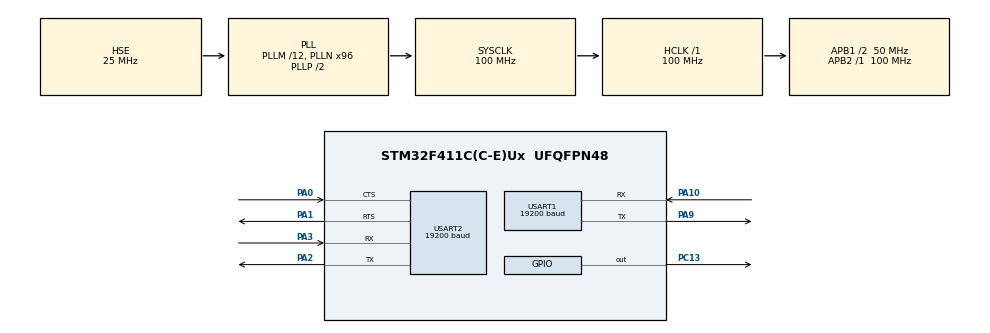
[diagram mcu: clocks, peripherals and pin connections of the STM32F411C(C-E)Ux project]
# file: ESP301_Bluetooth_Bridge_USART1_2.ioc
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Mcu.Family=STM32F4
Mcu.Name=STM32F411C(C-E)Ux
Mcu.Package=UFQFPN48
NVIC.PriorityGroup=NVIC_PRIORITYGROUP_4
NVIC.USART1_IRQn=true\:0\:0\:false\:false\:true\:true\:true\:true
NVIC.USART2_IRQn=true\:0\:0\:false\:false\:true\:true\:true\:true
PA0-WKUP.Mode=CTS_RTS
PA0-WKUP.Signal=USART2_CTS
PA1.GPIO_PuPd=GPIO_PULLUP
PA1.Mode=CTS_RTS
PA1.Signal=USART2_RTS
PA10.Mode=Asynchronous
PA10.Signal=USART1_RX
PA13.Mode=Serial_Wire
PA13.Signal=SYS_JTMS-SWDIO
PA14.Mode=Serial_Wire
PA14.Signal=SYS_JTCK-SWCLK
PA2.GPIO_PuPd=GPIO_PULLUP
PA2.Mode=Asynchronous
PA2.Signal=USART2_TX
PA3.GPIO_PuPd=GPIO_PULLUP
PA3.Mode=Asynchronous
PA3.Signal=USART2_RX
PA9.Mode=Asynchronous
PA9.Signal=USART1_TX
PC13-ANTI_TAMP.GPIO_PuPd=GPIO_NOPULL
PC13-ANTI_TAMP.Signal=GPIO_Output
PH0\ -\ OSC_IN.Mode=HSE-External-Oscillator
PH0\ -\ OSC_IN.Signal=RCC_OSC_IN
PH1\ -\ OSC_OUT.Mode=HSE-External-Oscillator
PH1\ -\ OSC_OUT.Signal=RCC_OSC_OUT
ProjectManager.HeapSize=0x200
ProjectManager.StackSize=0x400
ProjectManager.TargetToolchain=STM32CubeIDE
RCC.48MHZClocksFreq_Value=50000000
RCC.AHBFreq_Value=100000000
RCC.APB1CLKDivider=RCC_HCLK_DIV2
RCC.APB1Freq_Value=50000000
RCC.APB1TimFreq_Value=100000000
RCC.APB2Freq_Value=100000000
RCC.APB2TimFreq_Value=100000000
RCC.CortexFreq_Value=100000000
RCC.HCLKFreq_Value=100000000
RCC.HSE_VALUE=25000000
RCC.HSI_VALUE=16000000
RCC.LSE_VALUE=32768
RCC.PLLM=12
RCC.PLLN=96
RCC.PLLSourceVirtual=RCC_PLLSOURCE_HSE
RCC.SYSCLKFreq_VALUE=100000000
RCC.SYSCLKSource=RCC_SYSCLKSOURCE_PLLCLK
RCC.VCOOutputFreq_Value=200000000
USART1.BaudRate=19200
USART1.VirtualMode=VM_ASYNC
USART2.BaudRate=19200
USART2.VirtualMode=VM_ASYNC
board=custom

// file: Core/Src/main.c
/* USER CODE BEGIN Header */
/**
  ******************************************************************************
  * @file           : main.c
  * @brief          : Main program body
  ******************************************************************************
  * @attention
  *
  * Copyright (c) 2025 STMicroelectronics.
  * All rights reserved.
  *
  * This software is licensed under terms that can be found in the LICENSE file
  * in the root directory of this software component.
  * If no LICENSE file comes with this software, it is provided AS-IS.
  *
  ******************************************************************************
  */
/* USER CODE END Header */

#include "main.h"
#include <string.h>

/* USER CODE BEGIN PD */
#define BUFFER_SIZE 64  // Tamanho suficiente para respostas longas (ex.: VE?)
#define TIMEOUT_MS  100 // Timeout para aguardar o fim da mensagem
/* USER CODE END PD */

UART_HandleTypeDef huart1;
UART_HandleTypeDef huart2;

/* USER CODE BEGIN PV */
uint8_t usart1_rx_buffer[BUFFER_SIZE]; // Buffer para USART1 (Bluetooth)
uint8_t usart2_rx_buffer[BUFFER_SIZE]; // Buffer para USART2 (ESP301)
volatile uint16_t usart1_rx_index = 0; // Índice para acumular dados do Bluetooth
volatile uint16_t usart2_rx_index = 0; // Índice para acumular dados do ESP301
volatile uint8_t usart1_busy = 0;      // Flag para evitar sobreposição
volatile uint8_t usart2_busy = 0;      // Flag para evitar sobreposição
volatile uint32_t last_rx_time = 0;    // Para timeout
/* USER CODE END PV */

void SystemClock_Config(void);
static void MX_GPIO_Init(void);
static void MX_USART1_UART_Init(void);
static void MX_USART2_UART_Init(void);
/* USER CODE BEGIN PFP */
void Process_USART1_Data(void);
void Process_USART2_Data(void);
/* USER CODE END PFP */

int main(void)
{

  /* MCU Configuration--------------------------------------------------------*/

  /* Reset of all peripherals, Initializes the Flash interface and the Systick. */
  HAL_Init();

  /* Configure the system clock */
  SystemClock_Config();

  /* Initialize all configured peripherals */
  MX_GPIO_Init();
  MX_USART1_UART_Init();
  MX_USART2_UART_Init();
  /* USER CODE BEGIN 2 */
  // Configura prioridades das interrupções no NVIC para máxima responsividade
  HAL_NVIC_SetPriority(USART1_IRQn, 0, 0); // Prioridade máxima para USART1
  HAL_NVIC_SetPriority(USART2_IRQn, 0, 1); // Prioridade ligeiramente menor para USART2
  HAL_NVIC_EnableIRQ(USART1_IRQn);
  HAL_NVIC_EnableIRQ(USART2_IRQn);

  // Piscar LED para indicar inicialização
  for (int i = 0; i < 8; i++) {
    HAL_GPIO_TogglePin(GPIOC, GPIO_PIN_13);
    HAL_Delay(100);
  }

  // Inicia recepção com interrupção em ambas as UARTs
  HAL_UART_Receive_IT(&huart1, usart1_rx_buffer, 1); // USART1 (Bluetooth)
  HAL_UART_Receive_IT(&huart2, usart2_rx_buffer, 1); // USART2 (ESP301)
  /* USER CODE END 2 */

  /* Infinite loop */
  /* USER CODE BEGIN WHILE */
  while (1)
  {
    // Processar dados acumulados com timeout
    uint32_t current_time = HAL_GetTick();
    if (!usart1_busy && usart1_rx_index > 0 && (current_time - last_rx_time > TIMEOUT_MS)) {
      Process_USART1_Data();
    }
    if (!usart2_busy && usart2_rx_index > 0 && (current_time - last_rx_time > TIMEOUT_MS)) {
      Process_USART2_Data();
    }
    /* USER CODE END WHILE */

  }
}

void SystemClock_Config(void)
{
  RCC_OscInitTypeDef RCC_OscInitStruct = {0};
  RCC_ClkInitTypeDef RCC_ClkInitStruct = {0};

  /** Configure the main internal regulator output voltage
  */
  __HAL_RCC_PWR_CLK_ENABLE();
  __HAL_PWR_VOLTAGESCALING_CONFIG(PWR_REGULATOR_VOLTAGE_SCALE1);

  /** Initializes the RCC Oscillators according to the specified parameters
  * in the RCC_OscInitTypeDef structure.
  */
  RCC_OscInitStruct.OscillatorType = RCC_OSCILLATORTYPE_HSE;
  RCC_OscInitStruct.HSEState = RCC_HSE_ON;
  RCC_OscInitStruct.PLL.PLLState = RCC_PLL_ON;
  RCC_OscInitStruct.PLL.PLLSource = RCC_PLLSOURCE_HSE;
  RCC_OscInitStruct.PLL.PLLM = 12;
  RCC_OscInitStruct.PLL.PLLN = 96;
  RCC_OscInitStruct.PLL.PLLP = RCC_PLLP_DIV2;
  RCC_OscInitStruct.PLL.PLLQ = 4;
  if (HAL_RCC_OscConfig(&RCC_OscInitStruct) != HAL_OK)
  {
    Error_Handler();
  }

  /** Initializes the CPU, AHB and APB buses clocks
  */
  RCC_ClkInitStruct.ClockType = RCC_CLOCKTYPE_HCLK|RCC_CLOCKTYPE_SYSCLK
                              |RCC_CLOCKTYPE_PCLK1|RCC_CLOCKTYPE_PCLK2;
  RCC_ClkInitStruct.SYSCLKSource = RCC_SYSCLKSOURCE_PLLCLK;
  RCC_ClkInitStruct.AHBCLKDivider = RCC_SYSCLK_DIV1;
  RCC_ClkInitStruct.APB1CLKDivider = RCC_HCLK_DIV2;
  RCC_ClkInitStruct.APB2CLKDivider = RCC_HCLK_DIV1;

  if (HAL_RCC_ClockConfig(&RCC_ClkInitStruct, FLASH_LATENCY_3) != HAL_OK)
  {
    Error_Handler();
  }
}

static void MX_USART1_UART_Init(void)
{

  huart1.Instance = USART1;
  huart1.Init.BaudRate = 19200;
  huart1.Init.WordLength = UART_WORDLENGTH_8B;
  huart1.Init.StopBits = UART_STOPBITS_1;
  huart1.Init.Parity = UART_PARITY_NONE;
  huart1.Init.Mode = UART_MODE_TX_RX;
  huart1.Init.HwFlowCtl = UART_HWCONTROL_NONE;
  huart1.Init.OverSampling = UART_OVERSAMPLING_16;
  if (HAL_UART_Init(&huart1) != HAL_OK)
  {
    Error_Handler();
  }
}

static void MX_USART2_UART_Init(void)
{

  huart2.Instance = USART2;
  huart2.Init.BaudRate = 19200;
  huart2.Init.WordLength = UART_WORDLENGTH_8B;
  huart2.Init.StopBits = UART_STOPBITS_1;
  huart2.Init.Parity = UART_PARITY_NONE;
  huart2.Init.Mode = UART_MODE_TX_RX;
  huart2.Init.HwFlowCtl = UART_HWCONTROL_RTS_CTS;
  huart2.Init.OverSampling = UART_OVERSAMPLING_16;
  if (HAL_UART_Init(&huart2) != HAL_OK)
  {
    Error_Handler();
  }
}

static void MX_GPIO_Init(void)
{
  GPIO_InitTypeDef GPIO_InitStruct = {0};

  /* GPIO Ports Clock Enable */
  __HAL_RCC_GPIOC_CLK_ENABLE();
  __HAL_RCC_GPIOH_CLK_ENABLE();
  __HAL_RCC_GPIOA_CLK_ENABLE();

  /*Configure GPIO pin Output Level */
  HAL_GPIO_WritePin(GPIOC, GPIO_PIN_13, GPIO_PIN_RESET);

  /*Configure GPIO pin : PC13 */
  GPIO_InitStruct.Pin = GPIO_PIN_13;
  GPIO_InitStruct.Mode = GPIO_MODE_OUTPUT_PP;
  GPIO_InitStruct.Pull = GPIO_NOPULL;
  GPIO_InitStruct.Speed = GPIO_SPEED_FREQ_LOW;
  HAL_GPIO_Init(GPIOC, &GPIO_InitStruct);

}

/* USER CODE BEGIN 4 */
/**
  * @brief  Callback chamado quando um dado é recebido por interrupção
  * @param  huart: Ponteiro para a estrutura UART
  * @retval None
  */
void HAL_UART_RxCpltCallback(UART_HandleTypeDef *huart)
{
  if (huart->Instance == USART1) {
    // Dados recebidos do Bluetooth (HC-05)
    if (usart1_rx_index < BUFFER_SIZE - 1) {
      if (usart1_rx_buffer[usart1_rx_index] == '\r') {
        usart1_rx_buffer[usart1_rx_index + 1] = '\0'; // Termina a string
        Process_USART1_Data(); // Processa imediatamente ao encontrar \r
      } else {
        usart1_rx_index++;
      }
    }
    last_rx_time = HAL_GetTick();
    HAL_UART_Receive_IT(&huart1, &usart1_rx_buffer[usart1_rx_index], 1); // Continua recebendo
  }
  else if (huart->Instance == USART2) {
    // Dados recebidos do ESP301
    if (usart2_rx_index < BUFFER_SIZE - 2) { // -2 para espaço de \r\n
      if (usart2_rx_index > 0 && usart2_rx_buffer[usart2_rx_index - 1] == '\r' &&
          usart2_rx_buffer[usart2_rx_index] == '\n') {
        usart2_rx_buffer[usart2_rx_index + 1] = '\0'; // Termina a string após \r\n
        Process_USART2_Data(); // Processa imediatamente ao encontrar \r\n
      } else {
        usart2_rx_index++;
      }
    }
    last_rx_time = HAL_GetTick();
    HAL_UART_Receive_IT(&huart2, &usart2_rx_buffer[usart2_rx_index], 1); // Continua recebendo
  }
}

/**
  * @brief  Processa e retransmite dados recebidos do Bluetooth para o ESP301
  * @retval None
  */
void Process_USART1_Data(void)
{
  if (usart1_busy) return; // Evita sobreposição
  usart1_busy = 1;

  HAL_GPIO_TogglePin(GPIOC, GPIO_PIN_13); // Piscar LED para indicar transmissão
  HAL_UART_Transmit_IT(&huart2, usart1_rx_buffer, usart1_rx_index + 1); // Envia o buffer completo

  usart1_rx_index = 0; // Reseta o índice
  usart1_busy = 0;
}

/**
  * @brief  Processa e retransmite dados recebidos do ESP301 para o Bluetooth
  * @retval None
  */
void Process_USART2_Data(void)
{
  if (usart2_busy) return; // Evita sobreposição
  usart2_busy = 1;

  HAL_GPIO_TogglePin(GPIOC, GPIO_PIN_13); // Piscar LED para indicar transmissão
  HAL_UART_Transmit_IT(&huart1, usart2_rx_buffer, usart2_rx_index + 1); // Envia o buffer completo

  usart2_rx_index = 0; // Reseta o índice
  usart2_busy = 0;
}

/**
  * @brief  Callback chamado quando a transmissão por interrupção é concluída
  * @param  huart: Ponteiro para a estrutura UART
  * @retval None
  */
void HAL_UART_TxCpltCallback(UART_HandleTypeDef *huart)
{
  // Não é necessário reiniciar recepção aqui, pois é feito no RxCpltCallback
}

/**
  * @brief  Callback chamado em caso de erro na UART
  * @param  huart: Ponteiro para a estrutura UART
  * @retval None
  */
void HAL_UART_ErrorCallback(UART_HandleTypeDef *huart)
{
  if (huart->Instance == USART1) {
    usart1_rx_index = 0;
    HAL_UART_Receive_IT(&huart1, usart1_rx_buffer, 1);
  }
  else if (huart->Instance == USART2) {
    usart2_rx_index = 0;
    HAL_UART_Receive_IT(&huart2, usart2_rx_buffer, 1);
  }
}
/* USER CODE END 4 */

void Error_Handler(void)
{
  __disable_irq();
  while (1)
  {
  }
}

///* USER CODE BEGIN Header */
///**
//  ******************************************************************************
//  * @file           : main.c
//  * @brief          : Main program body
//  ******************************************************************************
//  * @attention
//  *
//  * Copyright (c) 2025 STMicroelectronics.
//  * All rights reserved.
//  *
//  * This software is licensed under terms that can be found in the LICENSE file
//  * in the root directory of this software component.
//  * If no LICENSE file comes with this software, it is provided AS-IS.
//  *
//  ******************************************************************************
//  */
///* USER CODE END Header */
//
///* Includes ------------------------------------------------------------------*/
//#include "main.h"
//
///* Private includes ----------------------------------------------------------*/
///* USER CODE BEGIN Includes */
//
///* USER CODE END Includes */
//
///* Private typedef -----------------------------------------------------------*/
///* USER CODE BEGIN PTD */
//
///* USER CODE END PTD */
//
///* Private define ------------------------------------------------------------*/
///* USER CODE BEGIN PD */
//
///* USER CODE END PD */
//
///* Private macro -------------------------------------------------------------*/
///* USER CODE BEGIN PM */
//
///* USER CODE END PM */
//
///* Private variables ---------------------------------------------------------*/
//UART_HandleTypeDef huart1;
//UART_HandleTypeDef huart2;
//
///* USER CODE BEGIN PV */
//uint8_t usart1_rx_buffer[16]; // Buffer maior para USART1 (Bluetooth)
//uint8_t usart2_rx_buffer[16]; // Buffer maior para USART2 (ESP301)
///* USER CODE END PV */
//
///* Private function prototypes -----------------------------------------------*/
//void SystemClock_Config(void);
//static void MX_GPIO_Init(void);
//static void MX_USART1_UART_Init(void);
//static void MX_USART2_UART_Init(void);
///* USER CODE BEGIN PFP */
//
///* USER CODE END PFP */
//
///* Private user code ---------------------------------------------------------*/
///* USER CODE BEGIN 0 */
//
///* USER CODE END 0 */
//
///**
//  * @brief  The application entry point.
//  * @retval int
//  */
//int main(void)
//{
//  /* USER CODE BEGIN 1 */
//
//  /* USER CODE END 1 */
//
//  /* MCU Configuration--------------------------------------------------------*/
//
//  /* Reset of all peripherals, Initializes the Flash interface and the Systick. */
//  HAL_Init();
//
//  /* USER CODE BEGIN Init */
//
//  /* USER CODE END Init */
//
//  /* Configure the system clock */
//  SystemClock_Config();
//
//  /* USER CODE BEGIN SysInit */
//
//  /* USER CODE END SysInit */
//
//  /* Initialize all configured peripherals */
//  MX_GPIO_Init();
//  MX_USART1_UART_Init();
//  MX_USART2_UART_Init();
//  /* USER CODE BEGIN 2 */
//  // Configura prioridades das interrupções no NVIC para máxima responsividade
//  HAL_NVIC_SetPriority(USART1_IRQn, 0, 0); // Prioridade máxima para USART1
//  HAL_NVIC_SetPriority(USART2_IRQn, 0, 1); // Prioridade ligeiramente menor para USART2
//  HAL_NVIC_EnableIRQ(USART1_IRQn);
//  HAL_NVIC_EnableIRQ(USART2_IRQn);
//
//  // Piscar LED para indicar inicialização
//  for (int i = 0; i < 8; i++) {
//    HAL_GPIO_TogglePin(GPIOC, GPIO_PIN_13);
//    HAL_Delay(100);
//  }
//
//  // Inicia recepção com interrupção em ambas as UARTs
//  HAL_UART_Receive_IT(&huart1, usart1_rx_buffer, 1); // USART1 (Bluetooth)
//  HAL_UART_Receive_IT(&huart2, usart2_rx_buffer, 1); // USART2 (ESP301)
//  /* USER CODE END 2 */
//
//  /* Infinite loop */
//  /* USER CODE BEGIN WHILE */
//  while (1)
//  {
//    /* USER CODE END WHILE */
//
//    /* USER CODE BEGIN 3 */
//  }
//  /* USER CODE END 3 */
//}
//
///**
//  * @brief System Clock Configuration
//  * @retval None
//  */
//void SystemClock_Config(void)
//{
//  RCC_OscInitTypeDef RCC_OscInitStruct = {0};
//  RCC_ClkInitTypeDef RCC_ClkInitStruct = {0};
//
//  /** Configure the main internal regulator output voltage
//  */
//  __HAL_RCC_PWR_CLK_ENABLE();
//  __HAL_PWR_VOLTAGESCALING_CONFIG(PWR_REGULATOR_VOLTAGE_SCALE1);
//
//  /** Initializes the RCC Oscillators according to the specified parameters
//  * in the RCC_OscInitTypeDef structure.
//  */
//  RCC_OscInitStruct.OscillatorType = RCC_OSCILLATORTYPE_HSE;
//  RCC_OscInitStruct.HSEState = RCC_HSE_ON;
//  RCC_OscInitStruct.PLL.PLLState = RCC_PLL_ON;
//  RCC_OscInitStruct.PLL.PLLSource = RCC_PLLSOURCE_HSE;
//  RCC_OscInitStruct.PLL.PLLM = 12;
//  RCC_OscInitStruct.PLL.PLLN = 96;
//  RCC_OscInitStruct.PLL.PLLP = RCC_PLLP_DIV2;
//  RCC_OscInitStruct.PLL.PLLQ = 4;
//  if (HAL_RCC_OscConfig(&RCC_OscInitStruct) != HAL_OK)
//  {
//    Error_Handler();
//  }
//
//  /** Initializes the CPU, AHB and APB buses clocks
//  */
//  RCC_ClkInitStruct.ClockType = RCC_CLOCKTYPE_HCLK|RCC_CLOCKTYPE_SYSCLK
//                              |RCC_CLOCKTYPE_PCLK1|RCC_CLOCKTYPE_PCLK2;
//  RCC_ClkInitStruct.SYSCLKSource = RCC_SYSCLKSOURCE_PLLCLK;
//  RCC_ClkInitStruct.AHBCLKDivider = RCC_SYSCLK_DIV1;
//  RCC_ClkInitStruct.APB1CLKDivider = RCC_HCLK_DIV2;
//  RCC_ClkInitStruct.APB2CLKDivider = RCC_HCLK_DIV1;
//
//  if (HAL_RCC_ClockConfig(&RCC_ClkInitStruct, FLASH_LATENCY_3) != HAL_OK)
//  {
//    Error_Handler();
//  }
//}
//
///**
//  * @brief USART1 Initialization Function
//  * @param None
//  * @retval None
//  */
//static void MX_USART1_UART_Init(void)
//{
//  huart1.Instance = USART1;
//  huart1.Init.BaudRate = 19200;
//  huart1.Init.WordLength = UART_WORDLENGTH_8B;
//  huart1.Init.StopBits = UART_STOPBITS_1;
//  huart1.Init.Parity = UART_PARITY_NONE;
//  huart1.Init.Mode = UART_MODE_TX_RX;
//  huart1.Init.HwFlowCtl = UART_HWCONTROL_NONE;
//  huart1.Init.OverSampling = UART_OVERSAMPLING_16;
//  if (HAL_UART_Init(&huart1) != HAL_OK)
//  {
//    Error_Handler();
//  }
//}
//
///**
//  * @brief USART2 Initialization Function
//  * @param None
//  * @retval None
//  */
//static void MX_USART2_UART_Init(void)
//{
//  huart2.Instance = USART2;
//  huart2.Init.BaudRate = 19200;
//  huart2.Init.WordLength = UART_WORDLENGTH_8B;
//  huart2.Init.StopBits = UART_STOPBITS_1;
//  huart2.Init.Parity = UART_PARITY_NONE;
//  huart2.Init.Mode = UART_MODE_TX_RX;
//  huart2.Init.HwFlowCtl = UART_HWCONTROL_RTS_CTS;
//  huart2.Init.OverSampling = UART_OVERSAMPLING_16;
//  if (HAL_UART_Init(&huart2) != HAL_OK)
//  {
//    Error_Handler();
//  }
//}
//
///**
//  * @brief GPIO Initialization Function
//  * @param None
//  * @retval None
//  */
//static void MX_GPIO_Init(void)
//{
//  GPIO_InitTypeDef GPIO_InitStruct = {0};
//
//  /* GPIO Ports Clock Enable */
//  __HAL_RCC_GPIOC_CLK_ENABLE();
//  __HAL_RCC_GPIOH_CLK_ENABLE();
//  __HAL_RCC_GPIOA_CLK_ENABLE();
//
//  /*Configure GPIO pin Output Level */
//  HAL_GPIO_WritePin(GPIOC, GPIO_PIN_13, GPIO_PIN_RESET);
//
//  /*Configure GPIO pin : PC13 */
//  GPIO_InitStruct.Pin = GPIO_PIN_13;
//  GPIO_InitStruct.Mode = GPIO_MODE_OUTPUT_PP;
//  GPIO_InitStruct.Pull = GPIO_NOPULL;
//  GPIO_InitStruct.Speed = GPIO_SPEED_FREQ_LOW;
//  HAL_GPIO_Init(GPIOC, &GPIO_InitStruct);
//}
//
///* USER CODE BEGIN 4 */
///**
//  * @brief  Callback chamado quando um dado é recebido por interrupção
//  * @param  huart: Ponteiro para a estrutura UART
//  * @retval None
//  */
//void HAL_UART_RxCpltCallback(UART_HandleTypeDef *huart)
//{
//  if (huart->Instance == USART1) {
//    // Recebeu do Bluetooth, retransmite para ESP301 usando interrupção
//    HAL_UART_Transmit_IT(&huart2, usart1_rx_buffer, 1);
//  }
//  else if (huart->Instance == USART2) {
//    // Recebeu do ESP301, retransmite para Bluetooth usando interrupção
//    HAL_UART_Transmit_IT(&huart1, usart2_rx_buffer, 1);
//  }
//}
//
///**
//  * @brief  Callback chamado quando a transmissão por interrupção é concluída
//  * @param  huart: Ponteiro para a estrutura UART
//  * @retval None
//  */
//void HAL_UART_TxCpltCallback(UART_HandleTypeDef *huart)
//{
//  if (huart->Instance == USART1) {
//    // Transmissão para Bluetooth concluída, reinicia recepção no ESP301
//    HAL_UART_Receive_IT(&huart2, usart2_rx_buffer, 1);
//  }
//  else if (huart->Instance == USART2) {
//    // Transmissão para ESP301 concluída, reinicia recepção no Bluetooth
//    HAL_UART_Receive_IT(&huart1, usart1_rx_buffer, 1);
//  }
//}
//
///**
//  * @brief  Callback chamado em caso de erro na UART
//  * @param  huart: Ponteiro para a estrutura UART
//  * @retval None
//  */
//void HAL_UART_ErrorCallback(UART_HandleTypeDef *huart)
//{
//  // Reinicia recepção em caso de erro
//  if (huart->Instance == USART1) {
//    HAL_UART_Receive_IT(&huart1, usart1_rx_buffer, 1);
//  }
//  else if (huart->Instance == USART2) {
//    HAL_UART_Receive_IT(&huart2, usart2_rx_buffer, 1);
//  }
//}
///* USER CODE END 4 */
//
///**
//  * @brief  This function is executed in case of error occurrence.
//  * @retval None
//  */
//void Error_Handler(void)
//{
//  __disable_irq();
//  while (1)
//  {
//  }
//}
//
//#ifdef  USE_FULL_ASSERT
///**
//  * @brief  Reports the name of the source file and the source line number
//  *         where the assert_param error has occurred.
//  * @param  file: pointer to the source file name
//  * @param  line: assert_param error line source number
//  * @retval None
//  */
//void assert_failed(uint8_t *file, uint32_t line)
//{
//}
//#endif /* USE_FULL_ASSERT */

///* USER CODE BEGIN Header */
///**
//  ******************************************************************************
//  * @file           : main.c
//  * @brief          : Main program body
//  ******************************************************************************
//  * @attention
//  *
//  * Copyright (c) 2025 STMicroelectronics.
//  * All rights reserved.
//  *
//  * This software is licensed under terms that can be found in the LICENSE file
//  * in the root directory of this software component.
//  * If no LICENSE file comes with this software, it is provided AS-IS.
//  *
//  ******************************************************************************
//  */
///* USER CODE END Header */
//
///* Includes ------------------------------------------------------------------*/
//#include "main.h"
//
///* Private includes ----------------------------------------------------------*/
///* USER CODE BEGIN Includes */
//
///* USER CODE END Includes */
//
///* Private typedef -----------------------------------------------------------*/
///* USER CODE BEGIN PTD */
//
///* USER CODE END PTD */
//
///* Private define ------------------------------------------------------------*/
///* USER CODE BEGIN PD */
//
///* USER CODE END PD */
//
///* Private macro -------------------------------------------------------------*/
///* USER CODE BEGIN PM */
//
///* USER CODE END PM */
//
///* Private variables ---------------------------------------------------------*/
//UART_HandleTypeDef huart1;
//UART_HandleTypeDef huart2;
//
///* USER CODE BEGIN PV */
//uint8_t usart1_rx_buffer[1]; // Buffer para receber da USART1 (Bluetooth)
//uint8_t usart2_rx_buffer[1]; // Buffer para receber da USART2 (ESP301)
///* USER CODE END PV */
//
///* Private function prototypes -----------------------------------------------*/
//void SystemClock_Config(void);
//static void MX_GPIO_Init(void);
//static void MX_USART1_UART_Init(void);
//static void MX_USART2_UART_Init(void);
///* USER CODE BEGIN PFP */
//
///* USER CODE END PFP */
//
///* Private user code ---------------------------------------------------------*/
///* USER CODE BEGIN 0 */
//
///* USER CODE END 0 */
//
///**
//  * @brief  The application entry point.
//  * @retval int
//  */
//int main(void)
//{
//  /* USER CODE BEGIN 1 */
//
//  /* USER CODE END 1 */
//
//  /* MCU Configuration--------------------------------------------------------*/
//
//  /* Reset of all peripherals, Initializes the Flash interface and the Systick. */
//  HAL_Init();
//
//  /* USER CODE BEGIN Init */
//
//  /* USER CODE END Init */
//
//  /* Configure the system clock */
//  SystemClock_Config();
//
//  /* USER CODE BEGIN SysInit */
//
//  /* USER CODE END SysInit */
//
//  /* Initialize all configured peripherals */
//  MX_GPIO_Init();
//  MX_USART1_UART_Init();
//  MX_USART2_UART_Init();
//  /* USER CODE BEGIN 2 */
//  // Configura prioridades das interrupções no NVIC para máxima responsividade
////  HAL_NVIC_SetPriority(USART1_IRQn, 0, 0); // Prioridade máxima para USART1
////  HAL_NVIC_SetPriority(USART2_IRQn, 0, 0); // Prioridade máxima para USART2
////  HAL_NVIC_EnableIRQ(USART1_IRQn);
////  HAL_NVIC_EnableIRQ(USART2_IRQn);
//
//  // Piscar LED para indicar inicialização
//  for (int i = 0; i < 8; i++) {
//    HAL_GPIO_TogglePin(GPIOC, GPIO_PIN_13);
//    HAL_Delay(100);
//  }
//
//  // Inicia recepção com interrupção em ambas as UARTs
//  HAL_UART_Receive_IT(&huart1, usart1_rx_buffer, 1); // USART1 (Bluetooth)
//  HAL_UART_Receive_IT(&huart2, usart2_rx_buffer, 1); // USART2 (ESP301)
//  /* USER CODE END 2 */
//
//  /* Infinite loop */
//  /* USER CODE BEGIN WHILE */
//  while (1)
//  {
//    /* USER CODE END WHILE */
//
//    /* USER CODE BEGIN 3 */
//  }
//  /* USER CODE END 3 */
//}
//
///**
//  * @brief System Clock Configuration
//  * @retval None
//  */
//void SystemClock_Config(void)
//{
//  RCC_OscInitTypeDef RCC_OscInitStruct = {0};
//  RCC_ClkInitTypeDef RCC_ClkInitStruct = {0};
//
//  /** Configure the main internal regulator output voltage
//  */
//  __HAL_RCC_PWR_CLK_ENABLE();
//  __HAL_PWR_VOLTAGESCALING_CONFIG(PWR_REGULATOR_VOLTAGE_SCALE1);
//
//  /** Initializes the RCC Oscillators according to the specified parameters
//  * in the RCC_OscInitTypeDef structure.
//  */
//  RCC_OscInitStruct.OscillatorType = RCC_OSCILLATORTYPE_HSE;
//  RCC_OscInitStruct.HSEState = RCC_HSE_ON;
//  RCC_OscInitStruct.PLL.PLLState = RCC_PLL_ON;
//  RCC_OscInitStruct.PLL.PLLSource = RCC_PLLSOURCE_HSE;
//  RCC_OscInitStruct.PLL.PLLM = 12;
//  RCC_OscInitStruct.PLL.PLLN = 96;
//  RCC_OscInitStruct.PLL.PLLP = RCC_PLLP_DIV2;
//  RCC_OscInitStruct.PLL.PLLQ = 4;
//  if (HAL_RCC_OscConfig(&RCC_OscInitStruct) != HAL_OK)
//  {
//    Error_Handler();
//  }
//
//  /** Initializes the CPU, AHB and APB buses clocks
//  */
//  RCC_ClkInitStruct.ClockType = RCC_CLOCKTYPE_HCLK|RCC_CLOCKTYPE_SYSCLK
//                              |RCC_CLOCKTYPE_PCLK1|RCC_CLOCKTYPE_PCLK2;
//  RCC_ClkInitStruct.SYSCLKSource = RCC_SYSCLKSOURCE_PLLCLK;
//  RCC_ClkInitStruct.AHBCLKDivider = RCC_SYSCLK_DIV1;
//  RCC_ClkInitStruct.APB1CLKDivider = RCC_HCLK_DIV2;
//  RCC_ClkInitStruct.APB2CLKDivider = RCC_HCLK_DIV1;
//
//  if (HAL_RCC_ClockConfig(&RCC_ClkInitStruct, FLASH_LATENCY_3) != HAL_OK)
//  {
//    Error_Handler();
//  }
//}
//
///**
//  * @brief USART1 Initialization Function
//  * @param None
//  * @retval None
//  */
//static void MX_USART1_UART_Init(void)
//{
//  /* USER CODE BEGIN USART1_Init 0 */
//
//  /* USER CODE END USART1_Init 0 */
//
//  /* USER CODE BEGIN USART1_Init 1 */
//
//  /* USER CODE END USART1_Init 1 */
//  huart1.Instance = USART1;
//  huart1.Init.BaudRate = 19200;
//  huart1.Init.WordLength = UART_WORDLENGTH_8B;
//  huart1.Init.StopBits = UART_STOPBITS_1;
//  huart1.Init.Parity = UART_PARITY_NONE;
//  huart1.Init.Mode = UART_MODE_TX_RX;
//  huart1.Init.HwFlowCtl = UART_HWCONTROL_NONE;
//  huart1.Init.OverSampling = UART_OVERSAMPLING_16;
//  if (HAL_UART_Init(&huart1) != HAL_OK)
//  {
//    Error_Handler();
//  }
//  /* USER CODE BEGIN USART1_Init 2 */
//
//  /* USER CODE END USART1_Init 2 */
//}
//
///**
//  * @brief USART2 Initialization Function
//  * @param None
//  * @retval None
//  */
//static void MX_USART2_UART_Init(void)
//{
//  /* USER CODE BEGIN USART2_Init 0 */
//
//  /* USER CODE END USART2_Init 0 */
//
//  /* USER CODE BEGIN USART2_Init 1 */
//
//  /* USER CODE END USART2_Init 1 */
//  huart2.Instance = USART2;
//  huart2.Init.BaudRate = 19200;
//  huart2.Init.WordLength = UART_WORDLENGTH_8B;
//  huart2.Init.StopBits = UART_STOPBITS_1;
//  huart2.Init.Parity = UART_PARITY_NONE;
//  huart2.Init.Mode = UART_MODE_TX_RX;
//  huart2.Init.HwFlowCtl = UART_HWCONTROL_RTS_CTS;
//  huart2.Init.OverSampling = UART_OVERSAMPLING_16;
//  if (HAL_UART_Init(&huart2) != HAL_OK)
//  {
//    Error_Handler();
//  }
//  /* USER CODE BEGIN USART2_Init 2 */
//
//  /* USER CODE END USART2_Init 2 */
//}
//
///**
//  * @brief GPIO Initialization Function
//  * @param None
//  * @retval None
//  */
//static void MX_GPIO_Init(void)
//{
//  GPIO_InitTypeDef GPIO_InitStruct = {0};
//  /* USER CODE BEGIN MX_GPIO_Init_1 */
//  /* USER CODE END MX_GPIO_Init_1 */
//
//  /* GPIO Ports Clock Enable */
//  __HAL_RCC_GPIOC_CLK_ENABLE();
//  __HAL_RCC_GPIOH_CLK_ENABLE();
//  __HAL_RCC_GPIOA_CLK_ENABLE();
//
//  /*Configure GPIO pin Output Level */
//  HAL_GPIO_WritePin(GPIOC, GPIO_PIN_13, GPIO_PIN_RESET);
//
//  /*Configure GPIO pin : PC13 */
//  GPIO_InitStruct.Pin = GPIO_PIN_13;
//  GPIO_InitStruct.Mode = GPIO_MODE_OUTPUT_PP;
//  GPIO_InitStruct.Pull = GPIO_NOPULL;
//  GPIO_InitStruct.Speed = GPIO_SPEED_FREQ_LOW;
//  HAL_GPIO_Init(GPIOC, &GPIO_InitStruct);
//
//  /* USER CODE BEGIN MX_GPIO_Init_2 */
//  /* USER CODE END MX_GPIO_Init_2 */
//}
//
///* USER CODE BEGIN 4 */
///**
//  * @brief  Callback chamado quando um dado é recebido por interrupção
//  * @param  huart: Ponteiro para a estrutura UART
//  * @retval None
//  */
//void HAL_UART_RxCpltCallback(UART_HandleTypeDef *huart)
//{
//  if (huart->Instance == USART1) {
//    // Recebeu do Bluetooth, retransmite para ESP301
//    HAL_UART_Transmit(&huart2, usart1_rx_buffer, 1, 5);
//    HAL_UART_Receive_IT(&huart1, usart1_rx_buffer, 1);
//  }
//  else if (huart->Instance == USART2) {
//    // Recebeu do ESP301, retransmite para Bluetooth
//    HAL_UART_Transmit(&huart1, usart2_rx_buffer, 1, 5);
//    HAL_UART_Receive_IT(&huart2, usart2_rx_buffer, 1);
//  }
//}
///* USER CODE END 4 */
//
///**
//  * @brief  This function is executed in case of error occurrence.
//  * @retval None
//  */
//void Error_Handler(void)
//{
//  /* USER CODE BEGIN Error_Handler_Debug */
//  /* User can add his own implementation to report the HAL error return state */
//  __disable_irq();
//  while (1)
//  {
//  }
//  /* USER CODE END Error_Handler_Debug */
//}
//
//#ifdef  USE_FULL_ASSERT
///**
//  * @brief  Reports the name of the source file and the source line number
//  *         where the assert_param error has occurred.
//  * @param  file: pointer to the source file name
//  * @param  line: assert_param error line source number
//  * @retval None
//  */
//void assert_failed(uint8_t *file, uint32_t line)
//{
//  /* USER CODE BEGIN 6 */
//  /* User can add his own implementation to report the file name and line number,
//     ex: printf("Wrong parameters value: file %s on line %d\r\n", file, line) */
//  /* USER CODE END 6 */
//}
//#endif /* USE_FULL_ASSERT */
